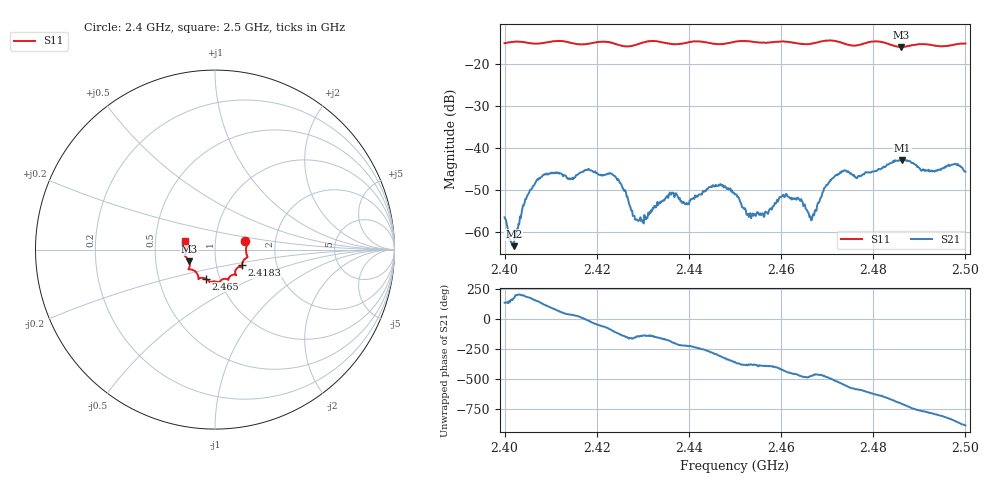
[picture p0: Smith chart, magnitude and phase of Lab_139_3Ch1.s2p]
# Hz S RI R 50
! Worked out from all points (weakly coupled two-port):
!   601 points, 2.4 GHz to 2.5 GHz, reference 50 ohm
!   highest |S21| = -42.90 dB at 2.4863 GHz (marker M1); lowest = -63.4 dB at 2.402 GHz (marker M2)
!   lowest |S11| = -16.0 dB at 2.486 GHz (marker M3), VSWR 1.37, Z = 37.1 - j4.98 ohm
!   |S11| at or under -10 dB: start of sweep to end of sweep
!   S12 and S22 are empty: the file has one direction only
!   S11 on the Smith chart (normalised r, x): 2.4 GHz: 1.40, +0.13; 2.4183 GHz: 1.33, -0.24; 2.465 GHz: 0.86, -0.29; 2.5 GHz: 0.71, +0.07
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2.4e9  0.1688 0.0459  -0.0011 0.00101  0 0  0 0
2.402e9  0.1781 0.0365  -0.000676 7.07e-05  0 0  0 0
2.4045e9  0.1777 0.0231  -0.00243 -0.000373  0 0  0 0
2.407167e9  0.1729 -0.00541  -0.00367 0.00215  0 0  0 0
2.416667e9  0.1549 -0.0683  0.00501 0.00115  0 0  0 0
2.418333e9  0.1499 -0.0867  0.00535 -0.00147  0 0  0 0
2.424167e9  0.141 -0.0963  -0.00165 -0.00413  0 0  0 0
2.428833e9  0.1123 -0.1271  -0.00108 -0.000879  0 0  0 0
2.433333e9  0.1166 -0.1413  -0.0019 -0.000877  0 0  0 0
2.436167e9  0.0977 -0.1406  -0.00277 0.000355  0 0  0 0
2.4395e9  0.0763 -0.1604  -0.00162 0.00152  0 0  0 0
2.446333e9  0.0499 -0.1633  0.0019 0.00298  0 0  0 0
2.45e9  0.0251 -0.1807  0.00279 0.000135  0 0  0 0
2.453e9  0.0185 -0.1834  0.00143 -0.000483  0 0  0 0
2.460667e9  -0.0297 -0.1808  0.000807 -0.00248  0 0  0 0
2.465e9  -0.0528 -0.1621  -0.00106 -0.00182  0 0  0 0
2.466667e9  -0.0714 -0.1575  -0.000502 -0.0013  0 0  0 0
2.471833e9  -0.0919 -0.1612  -0.00426 -0.00201  0 0  0 0
2.483333e9  -0.1419 -0.0958  0.00338 0.00537  0 0  0 0
2.486e9  -0.1437 -0.0654  0.00685 0.00208  0 0  0 0
2.486333e9  -0.1454 -0.0617  0.00701 0.00148  0 0  0 0
2.5e9  -0.1669 0.0473  -0.00509 -0.00115  0 0  0 0
